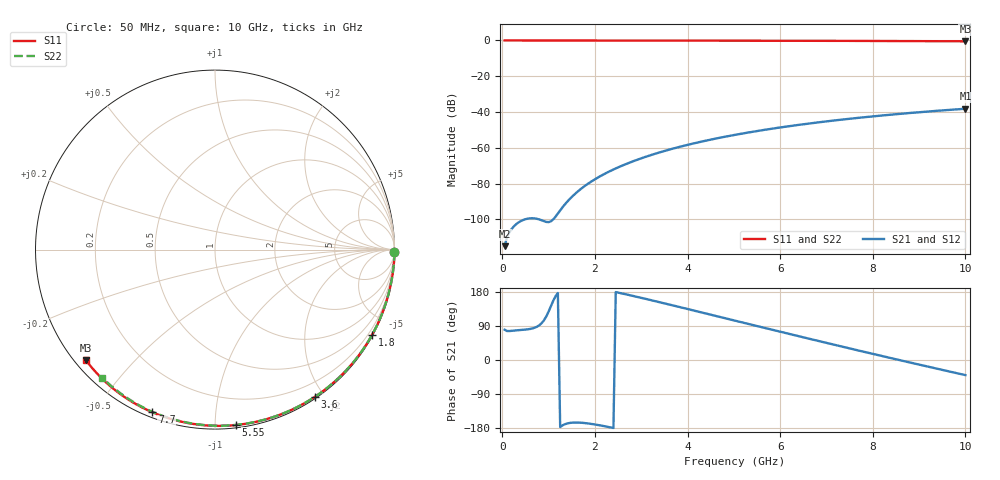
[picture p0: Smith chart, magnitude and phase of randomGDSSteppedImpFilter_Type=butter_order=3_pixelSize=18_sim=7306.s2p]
! freq	dB(S11)	phase(S11)	dB(S12)	phase(S12)
!  dB(S21)	phase(S21)	dB(S22)	phase(S22)
!S-par simulation data
#  GHz  S  DB  R 50
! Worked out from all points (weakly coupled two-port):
!   200 points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, 50 MHz to 10 GHz, reference 50 ohm
!   highest |S21| = -38.15 dB at 10 GHz (marker M1); lowest = -114.9 dB at 50 MHz (marker M2)
!   lowest |S11| = -0.5 dB at 10 GHz (marker M3), VSWR 36.88, Z = 1.54 - j18.5 ohm
!   |S11| at or under -10 dB: nowhere
!   |S22| runs from -0.4 to 0.0 dB; largest |S21 - S12| = 0
!   S11 on the Smith chart (normalised r, x): 50 MHz: open; 1.8 GHz: 0.03, -3.93; 3.6 GHz: 0.02, -1.89; 5.55 GHz: 0.02, -1.13; 7.7 GHz: 0.02, -0.69; 10 GHz: 0.03, -0.37
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0.05  -0.00 -0.8  -114.92 80.0  -114.92 80.0  -0.00 -0.8
0.45  -0.01 -7.2  -100.30 79.6  -100.30 79.6  -0.01 -6.8
0.9  -0.02 -14.4  -100.96 104.7  -100.96 104.7  -0.02 -13.6
1.75  -0.04 -27.8  -81.89 -166.0  -81.89 -166.0  -0.03 -26.2
1.8  -0.04 -28.6  -80.94 -166.7  -80.94 -166.7  -0.03 -26.9
1.85  -0.04 -29.3  -80.04 -167.4  -80.04 -167.4  -0.04 -27.6
2.15  -0.04 -34.0  -75.33 -173.4  -75.33 -173.4  -0.04 -32.0
2.35  -0.05 -37.0  -72.69 -178.2  -72.69 -178.2  -0.04 -34.9
2.55  -0.05 -40.1  -70.34 176.6  -70.34 176.6  -0.05 -37.8
2.95  -0.06 -46.1  -66.29 165.5  -66.29 165.5  -0.06 -43.5
3.4  -0.07 -52.8  -62.50 152.4  -62.50 152.4  -0.07 -49.8
3.6  -0.08 -55.8  -61.01 146.5  -61.01 146.5  -0.07 -52.6
3.9  -0.08 -60.1  -58.96 137.6  -58.96 137.6  -0.08 -56.8
4.3  -0.09 -65.9  -56.52 125.6  -56.52 125.6  -0.09 -62.2
5.05  -0.12 -76.4  -52.61 103.1  -52.61 103.1  -0.11 -72.1
5.55  -0.14 -83.2  -50.39 88.1  -50.39 88.1  -0.13 -78.6
6.1  -0.16 -90.5  -48.24 71.7  -48.24 71.7  -0.15 -85.6
6.7  -0.19 -98.4  -46.15 53.9  -46.15 53.9  -0.18 -93.0
7.7  -0.25 -111.1  -43.20 24.8  -43.20 24.8  -0.24 -105.0
8.35  -0.30 -119.1  -41.56 6.2  -41.56 6.2  -0.29 -112.5
9.2  -0.38 -129.5  -39.68 -17.8  -39.68 -17.8  -0.36 -122.3
10  -0.47 -139.3  -38.15 -39.9  -38.15 -39.9  -0.44 -131.3
